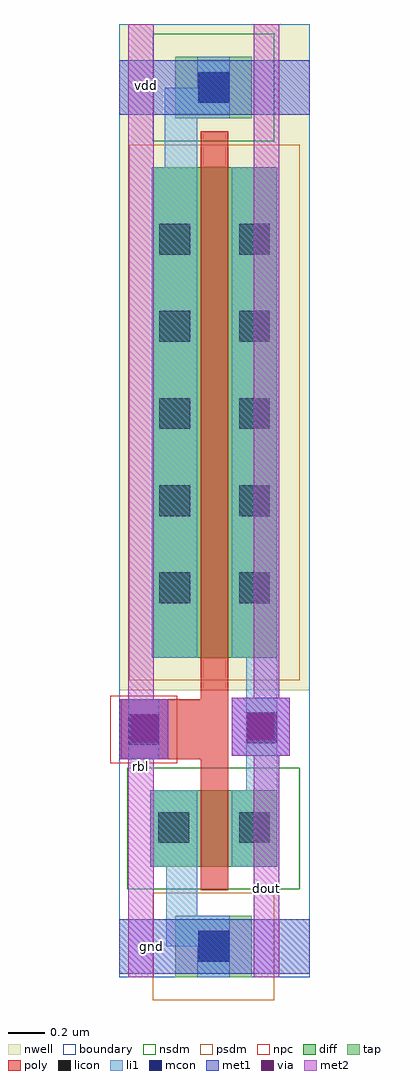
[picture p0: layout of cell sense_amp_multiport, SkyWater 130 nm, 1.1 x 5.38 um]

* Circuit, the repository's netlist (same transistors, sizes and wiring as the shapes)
* SPICE3 file created from sense_amplifier.ext - technology: sky130A



.subckt sense_amp_multiport rbl dout vdd gnd
X0 dout rbl vdd vdd sky130_fd_pr__pfet_01v8 ad=0 pd=0 as=0 ps=0 w=2.7 l=0.15
X1 dout rbl gnd gnd sky130_fd_pr__nfet_01v8 ad=0 pd=0 as=0 ps=0 w=0.42 l=0.15
.ends

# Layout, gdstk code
import gdstk
lib = gdstk.Library(unit=1e-6, precision=1e-09)
def R(c, l, rs):  # rectangles x0, y0, x1, y1
    for r in rs: c.add(gdstk.rectangle(r[:2], r[2:], *l))
def A(c, l, x, y, w, h, nx, ny, dx, dy):  # array of equal rectangles
    R(c, l, [(x+i*dx, y+j*dy, x+i*dx+w, y+j*dy+h) for i in range(nx) for j in range(ny)])
nwell = (64, 20)
diff = (65, 20)
tap = (65, 44)
poly = (66, 20)
licon = (66, 44)
li1 = (67, 20)
mcon = (67, 44)
met1 = (68, 20)
via = (68, 44)
met2 = (69, 20)
nsdm = (93, 44)
psdm = (94, 20)
npc = (95, 20)
boundary = (235, 4)

sense_amp_multiport = lib.new_cell('sense_amp_multiport')
R(sense_amp_multiport, nwell, [(0,1.58,1.05,5.25)])
R(sense_amp_multiport, diff, [(0.17,0.61,0.87,1.03), (0.18,1.76,0.87,4.46)])
R(sense_amp_multiport, tap, [(0.31,0,0.73,0.34), (0.31,4.73,0.73,5.07)])
R(sense_amp_multiport, poly, [(0.45,0.48,0.6,1.2), (0,1.2,0.6,1.53), (0.45,1.53,0.6,4.66)])
A(sense_amp_multiport, licon, 0.22, 2.06, 0.17, 0.17, 1, 5, 0, 0.48)
A(sense_amp_multiport, licon, 0.66, 2.06, 0.17, 0.17, 1, 5, 0, 0.48)
R(sense_amp_multiport, licon, [(0.435,0.085,0.605,0.255), (0.215,0.74,0.385,0.91), (0.66,0.74,0.83,0.91), (0.05,1.28,0.22,1.45), (0.435,4.815,0.605,4.985)])
R(sense_amp_multiport, li1, [(0.43,0,0.61,0.17), (0.26,0.17,0.61,0.34), (0.26,0.34,0.43,0.61), (0.17,0.61,0.43,1.03), (0.62,0.61,0.87,1.03), (0.7,1.03,0.87,1.76), (0.05,1.2,0.22,1.53), (0.18,1.76,0.43,4.46), (0.62,1.76,0.87,4.46), (0.25,4.46,0.43,4.73), (0.25,4.73,0.61,4.9), (0.43,4.9,0.61,5.07)])
R(sense_amp_multiport, mcon, [(0.435,0.085,0.605,0.255), (0.05,1.28,0.22,1.45), (0.7,1.29,0.87,1.46), (0.435,4.815,0.605,4.985)])
R(sense_amp_multiport, met1, [(0,0.02,1.05,0.32), (0,1.2,0.27,1.53), (0.62,1.22,0.94,1.54), (0,4.75,1.05,5.05)])
R(sense_amp_multiport, via, [(0.065,1.295,0.215,1.445), (0.705,1.305,0.855,1.455)])
R(sense_amp_multiport, met2, [(0.05,0,0.19,1.2), (0.74,0,0.88,1.22), (0.01,1.2,0.27,1.53), (0.62,1.22,0.94,1.54), (0.05,1.53,0.19,5.25), (0.74,1.54,0.88,5.25)])
R(sense_amp_multiport, nsdm, [(0.045,0.485,0.995,1.155), (0.185,4.605,0.855,5.195)])
R(sense_amp_multiport, psdm, [(0.185,-0.125,0.855,0.465), (0.055,1.635,0.995,4.585)])
R(sense_amp_multiport, npc, [(-0.05,1.18,0.32,1.55)])
R(sense_amp_multiport, boundary, [(0,0,1.05,5.25)])
sense_amp_multiport.add(gdstk.Label('vdd', (0.15,4.91), layer=68, texttype=5))
sense_amp_multiport.add(gdstk.Label('gnd', (0.18,0.17), layer=68, texttype=5))
sense_amp_multiport.add(gdstk.Label('rbl', (0.12,1.16), layer=69, texttype=5))
sense_amp_multiport.add(gdstk.Label('dout', (0.81,0.49), layer=69, texttype=5))

lib.write_gds('sense_amp_multiport.gds')
